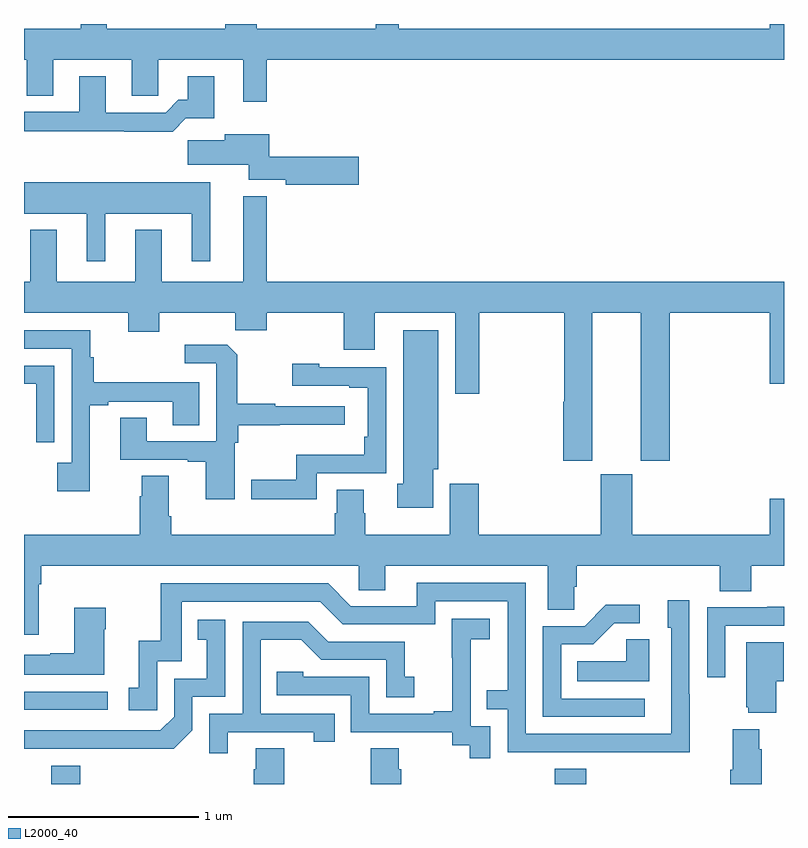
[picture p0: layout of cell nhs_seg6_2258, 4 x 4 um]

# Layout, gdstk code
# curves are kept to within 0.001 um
import gdstk
lib = gdstk.Library(unit=1e-6, precision=1e-09)
def R(c, l, rs):  # rectangles x0, y0, x1, y1
    for r in rs: c.add(gdstk.rectangle(r[:2], r[2:], *l))
def P(c, l, *ps):  # polygons
    for p in ps: c.add(gdstk.Polygon(p, *l))
L2000_40 = (2000, 40)

nhs_seg6_2258 = lib.new_cell('nhs_seg6_2258')
R(nhs_seg6_2258, L2000_40, [(245.144,967.5,245.297,967.597), (247.793,967.5,247.958,967.579), (245,967.89,245.44,967.986)])
P(nhs_seg6_2258, L2000_40, [(246.277,971.312),(249,971.312),(249,971.5),(248.924,971.5),(248.924,971.476),(246.973,971.476),(246.973,971.5),(246.852,971.5),(246.852,971.476),(246.224,971.476),(246.224,971.5),(246.059,971.5),(246.059,971.476),(245.435,971.476),(245.435,971.5),(245.299,971.5),(245.299,971.476),(245,971.476),(245,971.312),(245.015,971.312),(245.015,971.122),(245.155,971.122),(245.155,971.312),(245.567,971.312),(245.567,971.122),(245.706,971.122),(245.706,971.312),(246.155,971.312),(246.155,971.091),(246.277,971.091)],
  [(245.852,971.003),(246.001,971.003),(246.001,971.224),(245.861,971.224),(245.861,971.101),(245.812,971.101),(245.745,971.034),(245.431,971.034),(245.431,971.224),(245.291,971.224),(245.291,971.037),(245,971.037),(245,970.936),(245.527,970.936),(245.527,970.934),(245.783,970.934)],
  [(246.763,970.802),(246.292,970.802),(246.292,970.921),(246.056,970.921),(246.056,970.889),(245.862,970.889),(245.862,970.76),(246.182,970.76),(246.182,970.679),(246.378,970.679),(246.378,970.655),(246.763,970.655)],
  [(245.428,970.502),(245.882,970.502),(245.882,970.251),(245.98,970.251),(245.98,970.666),(245,970.666),(245,970.502),(245.33,970.502),(245.33,970.251),(245.428,970.251)],
  [(246.277,970.594),(246.155,970.594),(246.155,970.144),(245.725,970.144),(245.725,970.417),(245.585,970.417),(245.585,970.144),(245.173,970.144),(245.173,970.417),(245.033,970.417),(245.033,970.144),(245,970.144),(245,969.98),(245.549,969.98),(245.549,969.881),(245.713,969.881),(245.713,969.98),(246.113,969.98),(246.113,969.887),(246.277,969.887),(246.277,969.98),(246.683,969.98),(246.683,969.786),(246.847,969.786),(246.847,969.98),(247.271,969.98),(247.271,969.555),(247.395,969.555),(247.395,969.98),(247.843,969.98),(247.843,969.513),(247.838,969.513),(247.838,969.201),(247.99,969.201),(247.99,969.98),(248.246,969.98),(248.246,969.201),(248.399,969.201),(248.399,969.98),(248.924,969.98),(248.924,969.606),(249,969.606),(249,970.144),(246.277,970.144)],
  [(247.153,969.156),(247.18,969.156),(247.18,969.889),(246.995,969.889),(246.995,969.08),(246.965,969.08),(246.965,968.954),(247.153,968.954)],
  [(245.347,969.493),(245.443,969.493),(245.443,969.513),(245.783,969.513),(245.783,969.388),(245.923,969.388),(245.923,969.614),(245.366,969.614),(245.366,969.746),(245.348,969.746),(245.348,969.888),(245,969.888),(245,969.792),(245.25,969.792),(245.25,969.19),(245.175,969.19),(245.175,969.042),(245.347,969.042)],
  [(246.108,969.296),(246.128,969.296),(246.128,969.388),(246.347,969.388),(246.347,969.392),(246.688,969.392),(246.688,969.489),(246.323,969.489),(246.323,969.502),(246.123,969.502),(246.123,969.759),(246.071,969.811),(245.847,969.811),(245.847,969.714),(246.012,969.714),(246.012,969.303),(245.647,969.303),(245.647,969.428),(245.507,969.428),(245.507,969.207),(245.861,969.207),(245.861,969.195),(245.957,969.195),(245.957,969),(246.108,969)],
  [(246.54,969.135),(246.906,969.135),(246.906,969.693),(246.555,969.693),(246.555,969.712),(246.411,969.712),(246.411,969.597),(246.713,969.597),(246.713,969.585),(246.81,969.585),(246.81,969.328),(246.79,969.328),(246.79,969.232),(246.432,969.232),(246.432,969.101),(246.195,969.101),(246.195,968.999),(246.54,968.999)],
  [(245.16,969.702),(245,969.702),(245,969.606),(245.064,969.606),(245.064,969.3),(245.16,969.3)],
  [(245.077,968.552),(245.09,968.552),(245.09,968.648),(246.762,968.648),(246.762,968.521),(246.901,968.521),(246.901,968.648),(247.757,968.648),(247.757,968.416),(247.896,968.416),(247.896,968.539),(247.91,968.539),(247.91,968.648),(248.663,968.648),(248.663,968.515),(248.828,968.515),(248.828,968.648),(249,968.648),(249,969.001),(248.924,969.001),(248.924,968.812),(248.2,968.812),(248.2,969.129),(248.036,969.129),(248.036,968.812),(247.394,968.812),(247.394,969.079),(247.241,969.079),(247.241,968.812),(246.795,968.812),(246.795,968.925),(246.787,968.925),(246.787,969.05),(246.647,969.05),(246.647,968.925),(246.635,968.925),(246.635,968.812),(245.774,968.812),(245.774,968.908),(245.761,968.908),(245.761,969.122),(245.621,969.122),(245.621,969.014),(245.609,969.014),(245.609,968.812),(245,968.812),(245,968.286),(245.077,968.286)],
  [(248.505,967.973),(248.502,967.973),(248.502,968.467),(248.387,968.467),(248.387,968.322),(248.406,968.322),(248.406,967.764),(247.641,967.764),(247.641,968.559),(247.067,968.559),(247.067,968.436),(246.72,968.436),(246.6,968.556),(245.721,968.556),(245.721,968.254),(245.603,968.254),(245.603,968.007),(245.55,968.007),(245.55,967.887),(245.7,967.887),(245.7,968.145),(245.829,968.145),(245.829,968.46),(246.558,968.46),(246.678,968.34),(247.164,968.34),(247.164,968.463),(247.545,968.463),(247.545,967.994),(247.435,967.994),(247.435,967.893),(247.545,967.893),(247.545,967.668),(248.505,967.667)],
  [(248.266,967.95),(247.827,967.95),(247.827,968.235),(247.996,968.235),(248.107,968.346),(248.242,968.346),(248.242,968.444),(248.063,968.444),(247.95,968.331),(247.731,968.331),(247.731,967.854),(248.266,967.854)],
  [(248.691,968.334),(249,968.334),(249,968.432),(248.911,968.432),(248.911,968.43),(248.595,968.43),(248.595,968.061),(248.691,968.061)],
  [(245.422,968.315),(245.43,968.315),(245.43,968.428),(245.264,968.428),(245.264,968.189),(245.138,968.189),(245.138,968.179),(245,968.179),(245,968.075),(245.422,968.075)],
  [(247.455,967.803),(247.35,967.803),(247.35,968.033),(247.352,968.033),(247.352,968.261),(247.45,968.261),(247.45,968.371),(247.252,968.371),(247.252,968.165),(247.253,968.165),(247.253,967.882),(247.157,967.882),(247.157,967.869),(246.816,967.869),(246.816,968.064),(246.471,968.064),(246.471,968.091),(246.331,968.091),(246.331,967.968),(246.72,967.968),(246.72,967.773),(247.254,967.773),(247.254,967.705),(247.347,967.705),(247.347,967.635),(247.455,967.635)],
  [(245.886,967.782),(245.886,967.959),(246.06,967.959),(246.06,968.365),(245.914,968.365),(245.914,968.259),(245.963,968.259),(245.963,968.055),(245.79,968.055),(245.79,967.854),(245.718,967.782),(245,967.782),(245,967.686),(245.788,967.685)],
  [(246.073,967.773),(246.524,967.773),(246.524,967.722),(246.635,967.722),(246.635,967.869),(246.246,967.869),(246.246,968.258),(246.46,968.258),(246.564,968.154),(246.906,968.154),(246.906,967.956),(247.054,967.956),(247.054,968.065),(247.005,968.065),(247.005,968.25),(246.601,968.25),(246.496,968.355),(246.15,968.355),(246.15,967.869),(245.976,967.869),(245.976,967.662),(246.073,967.662)],
  [(248.29,968.261),(248.169,968.261),(248.169,968.146),(247.912,968.146),(247.912,968.042),(248.29,968.042)],
  [(248.959,968.042),(248.998,968.042),(248.998,968.245),(248.801,968.245),(248.801,967.905),(248.813,967.905),(248.813,967.874),(248.959,967.874)],
  [(248.882,967.682),(248.869,967.682),(248.869,967.789),(248.729,967.789),(248.729,967.576),(248.717,967.576),(248.717,967.5),(248.882,967.5)],
  [(246.369,967.688),(246.221,967.688),(246.221,967.578),(246.209,967.578),(246.209,967.5),(246.369,967.5)],
  [(246.986,967.578),(246.973,967.578),(246.973,967.688),(246.826,967.688),(246.826,967.5),(246.986,967.5)])

lib.write_gds('nhs_seg6_2258.gds')
